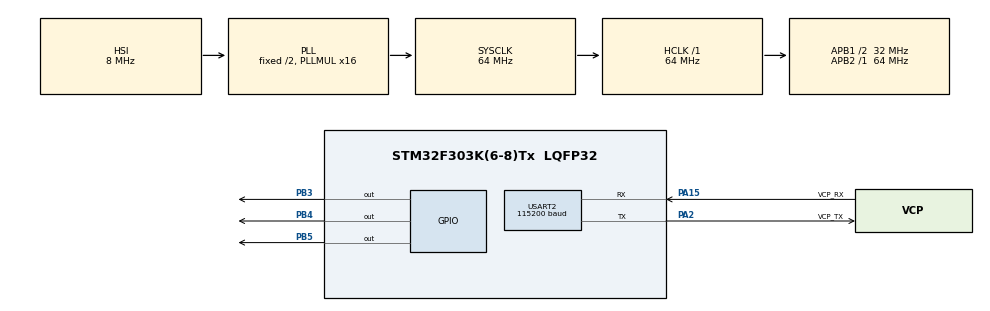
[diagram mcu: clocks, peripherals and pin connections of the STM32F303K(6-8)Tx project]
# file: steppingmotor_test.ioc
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Mcu.Family=STM32F3
Mcu.Name=STM32F303K(6-8)Tx
Mcu.Package=LQFP32
NVIC.PriorityGroup=NVIC_PRIORITYGROUP_4
PA13.GPIO_Label=SWDIO
PA13.Mode=Serial_Wire
PA13.Signal=SYS_JTMS-SWDIO
PA14.GPIO_Label=SWCLK
PA14.Mode=Serial_Wire
PA14.Signal=SYS_JTCK-SWCLK
PA15.GPIO_Label=VCP_RX
PA15.Mode=Asynchronous
PA15.Signal=USART2_RX
PA2.GPIO_Label=VCP_TX
PA2.Mode=Asynchronous
PA2.Signal=USART2_TX
PB3.Signal=GPIO_Output
PB4.Signal=GPIO_Output
PB5.Signal=GPIO_Output
PF0\ /\ OSC_IN.GPIO_Label=MCO
PF0\ /\ OSC_IN.Mode=HSE-External-Clock-Source
PF0\ /\ OSC_IN.Signal=RCC_OSC_IN
ProjectManager.HeapSize=0x200
ProjectManager.StackSize=0x400
ProjectManager.TargetToolchain=STM32CubeIDE
RCC.AHBFreq_Value=64000000
RCC.APB1CLKDivider=RCC_HCLK_DIV2
RCC.APB1Freq_Value=32000000
RCC.APB1TimFreq_Value=64000000
RCC.APB2Freq_Value=64000000
RCC.APB2TimFreq_Value=64000000
RCC.CortexFreq_Value=64000000
RCC.HCLKFreq_Value=64000000
RCC.HSE_VALUE=8000000
RCC.HSI_VALUE=8000000
RCC.PLLMUL=RCC_PLL_MUL16
RCC.SYSCLKFreq_VALUE=64000000
RCC.SYSCLKSourceVirtual=RCC_SYSCLKSOURCE_PLLCLK
USART2.BaudRate=115200
USART2.VirtualMode-Asynchronous=VM_ASYNC
board=NUCLEO-F303K8

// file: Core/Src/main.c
/* USER CODE BEGIN Header */
/**
  ******************************************************************************
  * @file           : main.c
  * @brief          : Main program body
  ******************************************************************************
  * @attention
  *
  * Copyright (c) 2022 STMicroelectronics.
  * All rights reserved.
  *
  * This software is licensed under terms that can be found in the LICENSE file
  * in the root GPIO_PIN_3ectory of this software component.
  * If no LICENSE file comes with this software, it is provided AS-IS.
  *
  ******************************************************************************
  */
/* USER CODE END Header */
#include "main.h"

/* USER CODE BEGIN Includes */
#include<stdio.h>
/* USER CODE END Includes */

 UART_HandleTypeDef huart2;

void SystemClock_Config(void);
static void MX_GPIO_Init(void);
static void MX_USART2_UART_Init(void);

int main(void)
{

  /* MCU Configuration--------------------------------------------------------*/

  /* Reset of all peripherals, Initializes the Flash interface and the Systick. */
  HAL_Init();

  /* Configure the system clock */
  SystemClock_Config();

  /* Initialize all configured peripherals */
  MX_GPIO_Init();
  MX_USART2_UART_Init();
  /* USER CODE BEGIN 2 */
//  int dir = GPIO_PIN_3;
//  int step=  GPIO_PIN_4;
//  int ena = GPIO_PIN_5;
  int i;
  char rxbuf[1];
  char start[] ="1:front,2:back\r\n";
  char front[] ="front turn\r\n";
  char back[] ="back turn\r\n";
  char nonans[] ="Not Understand \r\n";

  char rev;

  HAL_UART_Transmit(&huart2,(uint8_t *)start,sizeof(start),3000);

  /* USER CODE END 2 */

  /* Infinite loop */
  while (1)
  {

    /* USER CODE BEGIN 3 */
	  HAL_UART_Receive(&huart2,(uint8_t *)rxbuf, sizeof(rxbuf), 100);
	  	  if (rxbuf[0] != 0){
	  		  //HAL_TIM_PWM_Start(&htim2, TIM_CHANNEL_1);
	  		  HAL_GPIO_WritePin(GPIOB,GPIO_PIN_5,RESET);
	  		  HAL_UART_Transmit(&huart2,(uint8_t *)start, sizeof(start),3000);
	  		  if(rxbuf[0] == '1'){
	  			  HAL_UART_Transmit(&huart2,(uint8_t *)front, sizeof(front),3000);
	  			  HAL_GPIO_WritePin(GPIOB,GPIO_PIN_3,SET);
	  			  for(i=0;i<=3200;i++){
	  				  HAL_GPIO_WritePin(GPIOB,GPIO_PIN_4,RESET);
	  				  //HAL_Delay(1);
	  		  		  HAL_GPIO_WritePin(GPIOB,GPIO_PIN_4,SET);
	  		  		  HAL_Delay(1);
	  		  		  //HAL_GPIO_WritePin(GPIOB,GPIO_PIN_4,RESET);
	  		  		  //HAL_Delay(100);
	  			  	  }
	  		  		  rxbuf[0]=0;
	  		  	  }
	  		  else if(rxbuf[0] == '2'){
	  			  HAL_UART_Transmit(&huart2,(uint8_t *)back, sizeof(back),3000);
	  			  HAL_GPIO_WritePin(GPIOB,GPIO_PIN_3,RESET);
	  			  for(i=0;i<=3200;i++){
	  				  HAL_GPIO_WritePin(GPIOB,GPIO_PIN_4,RESET);
	  				  //HAL_Delay(1);
	  				  HAL_GPIO_WritePin(GPIOB,GPIO_PIN_4,SET);
	  				  HAL_Delay(1);
	  				  //HAL_GPIO_WritePin(GPIOB,GPIO_PIN_4,RESET);
	  				  //HAL_Delay(100);
	  			  	  }
	  			  	  rxbuf[0]=0;
	  		  	 }
	  		  else{
	  			  HAL_UART_Transmit(&huart2,(uint8_t *)nonans, sizeof(nonans),3000);
	  			  rxbuf[0]=0;
	  		  }

	  	  }
  }
  /* USER CODE END 3 */
}

void SystemClock_Config(void)
{
  RCC_OscInitTypeDef RCC_OscInitStruct = {0};
  RCC_ClkInitTypeDef RCC_ClkInitStruct = {0};

  /** Initializes the RCC Oscillators according to the specified parameters
  * in the RCC_OscInitTypeDef structure.
  */
  RCC_OscInitStruct.OscillatorType = RCC_OSCILLATORTYPE_HSI;
  RCC_OscInitStruct.HSIState = RCC_HSI_ON;
  RCC_OscInitStruct.HSICalibrationValue = RCC_HSICALIBRATION_DEFAULT;
  RCC_OscInitStruct.PLL.PLLState = RCC_PLL_ON;
  RCC_OscInitStruct.PLL.PLLSource = RCC_PLLSOURCE_HSI;
  RCC_OscInitStruct.PLL.PLLMUL = RCC_PLL_MUL16;
  if (HAL_RCC_OscConfig(&RCC_OscInitStruct) != HAL_OK)
  {
    Error_Handler();
  }

  /** Initializes the CPU, AHB and APB buses clocks
  */
  RCC_ClkInitStruct.ClockType = RCC_CLOCKTYPE_HCLK|RCC_CLOCKTYPE_SYSCLK
                              |RCC_CLOCKTYPE_PCLK1|RCC_CLOCKTYPE_PCLK2;
  RCC_ClkInitStruct.SYSCLKSource = RCC_SYSCLKSOURCE_PLLCLK;
  RCC_ClkInitStruct.AHBCLKDivider = RCC_SYSCLK_DIV1;
  RCC_ClkInitStruct.APB1CLKDivider = RCC_HCLK_DIV2;
  RCC_ClkInitStruct.APB2CLKDivider = RCC_HCLK_DIV1;

  if (HAL_RCC_ClockConfig(&RCC_ClkInitStruct, FLASH_LATENCY_2) != HAL_OK)
  {
    Error_Handler();
  }
}

static void MX_USART2_UART_Init(void)
{

  huart2.Instance = USART2;
  huart2.Init.BaudRate = 115200;
  huart2.Init.WordLength = UART_WORDLENGTH_8B;
  huart2.Init.StopBits = UART_STOPBITS_1;
  huart2.Init.Parity = UART_PARITY_NONE;
  huart2.Init.Mode = UART_MODE_TX_RX;
  huart2.Init.HwFlowCtl = UART_HWCONTROL_NONE;
  huart2.Init.OverSampling = UART_OVERSAMPLING_16;
  huart2.Init.OneBitSampling = UART_ONE_BIT_SAMPLE_DISABLE;
  huart2.AdvancedInit.AdvFeatureInit = UART_ADVFEATURE_NO_INIT;
  if (HAL_UART_Init(&huart2) != HAL_OK)
  {
    Error_Handler();
  }

}

static void MX_GPIO_Init(void)
{
  GPIO_InitTypeDef GPIO_InitStruct = {0};

  /* GPIO Ports Clock Enable */
  __HAL_RCC_GPIOF_CLK_ENABLE();
  __HAL_RCC_GPIOA_CLK_ENABLE();
  __HAL_RCC_GPIOB_CLK_ENABLE();

  /*Configure GPIO pin Output Level */
  HAL_GPIO_WritePin(GPIOB, GPIO_PIN_3|GPIO_PIN_4|GPIO_PIN_5, GPIO_PIN_RESET);

  /*Configure GPIO pins : PB3 PB4 PB5 */
  GPIO_InitStruct.Pin = GPIO_PIN_3|GPIO_PIN_4|GPIO_PIN_5;
  GPIO_InitStruct.Mode = GPIO_MODE_OUTPUT_PP;
  GPIO_InitStruct.Pull = GPIO_NOPULL;
  GPIO_InitStruct.Speed = GPIO_SPEED_FREQ_LOW;
  HAL_GPIO_Init(GPIOB, &GPIO_InitStruct);

}

void Error_Handler(void)
{
  __disable_irq();
  while (1)
  {
  }
}
